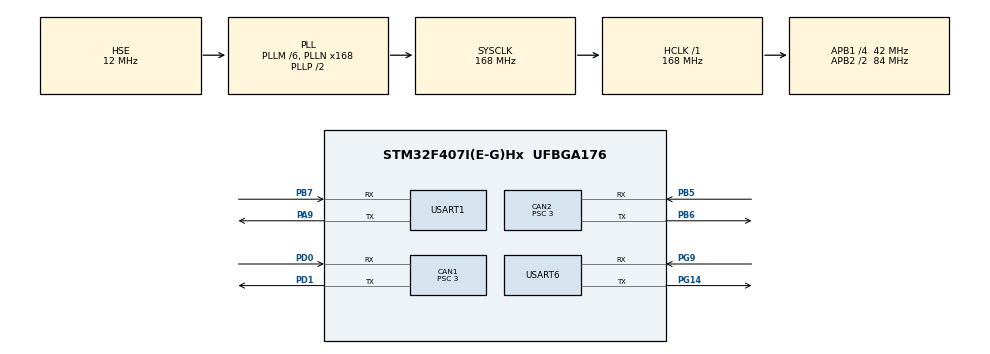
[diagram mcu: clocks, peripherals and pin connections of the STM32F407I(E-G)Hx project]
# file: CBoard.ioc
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CAN1.BS1=CAN_BS1_10TQ
CAN1.BS2=CAN_BS2_3TQ
CAN1.CalculateBaudRate=1000000
CAN1.CalculateTimeBit=1000
CAN1.CalculateTimeQuantum=71.42857142857143
CAN1.AutoBusOff=ENABLE
CAN1.AutoRetransmission=ENABLE
CAN1.Prescaler=3
CAN2.BS1=CAN_BS1_10TQ
CAN2.BS2=CAN_BS2_3TQ
CAN2.CalculateBaudRate=1000000
CAN2.CalculateTimeBit=1000
CAN2.CalculateTimeQuantum=71.42857142857143
CAN2.AutoBusOff=ENABLE
CAN2.AutoRetransmission=ENABLE
CAN2.Prescaler=3
Mcu.Family=STM32F4
Mcu.Name=STM32F407I(E-G)Hx
Mcu.Package=UFBGA176
NVIC.CAN1_RX0_IRQn=true\:0\:0\:false\:false\:true\:true\:true\:true
NVIC.CAN1_TX_IRQn=true\:0\:0\:false\:false\:true\:true\:true\:true
NVIC.CAN2_TX_IRQn=true\:0\:0\:false\:false\:true\:true\:true\:true
NVIC.CAN2_RX0_IRQn=true\:0\:0\:false\:false\:true\:true\:true\:true
NVIC.PriorityGroup=NVIC_PRIORITYGROUP_4
NVIC.TIM1_UP_TIM10_IRQn=true\:1\:0\:false\:false\:true\:true\:true\:true
NVIC.USART1_IRQn=true\:2\:0\:false\:false\:true\:true\:true\:true
NVIC.USART6_IRQn=true\:2\:0\:false\:false\:true\:true\:true\:true
PA13.Mode=Serial_Wire
PA13.Signal=SYS_JTMS-SWDIO
PA14.Mode=Serial_Wire
PA14.Signal=SYS_JTCK-SWCLK
PA9.Mode=Asynchronous
PA9.GPIO_PuPd=GPIO_PULLUP
PA9.Signal=USART1_TX
PB5.Mode=CAN_Activate
PB5.GPIO_PuPd=GPIO_PULLUP
PB5.Signal=CAN2_RX
PB6.Mode=CAN_Activate
PB6.GPIO_PuPd=GPIO_PULLUP
PB6.Signal=CAN2_TX
PB7.Mode=Asynchronous
PB7.GPIO_PuPd=GPIO_PULLUP
PB7.Signal=USART1_RX
PD0.Mode=CAN_Activate
PD0.GPIO_PuPd=GPIO_PULLUP
PD0.Signal=CAN1_RX
PD1.Mode=CAN_Activate
PD1.GPIO_PuPd=GPIO_PULLUP
PD1.Signal=CAN1_TX
PG14.Mode=Asynchronous
PG14.GPIO_PuPd=GPIO_PULLUP
PG14.Signal=USART6_TX
PG9.Mode=Asynchronous
PG9.GPIO_PuPd=GPIO_PULLUP
PG9.Signal=USART6_RX
PH0-OSC_IN.Mode=HSE-External-Oscillator
PH0-OSC_IN.Signal=RCC_OSC_IN
PH1-OSC_OUT.Mode=HSE-External-Oscillator
PH1-OSC_OUT.Signal=RCC_OSC_OUT
ProjectManager.HeapSize=0x200
ProjectManager.StackSize=0x400
ProjectManager.TargetToolchain=MDK-ARM V5.32
RCC.48MHZClocksFreq_Value=84000000
RCC.AHBFreq_Value=168000000
RCC.APB1CLKDivider=RCC_HCLK_DIV4
RCC.APB1Freq_Value=42000000
RCC.APB1TimFreq_Value=84000000
RCC.APB2CLKDivider=RCC_HCLK_DIV2
RCC.APB2Freq_Value=84000000
RCC.APB2TimFreq_Value=168000000
RCC.CortexFreq_Value=168000000
RCC.HCLKFreq_Value=168000000
RCC.HSE_VALUE=12000000
RCC.HSI_VALUE=16000000
RCC.LSE_VALUE=32768
RCC.PLLM=6
RCC.PLLN=168
RCC.PLLSourceVirtual=RCC_PLLSOURCE_HSE
RCC.SYSCLKFreq_VALUE=168000000
RCC.SYSCLKSource=RCC_SYSCLKSOURCE_PLLCLK
RCC.VCOOutputFreq_Value=336000000
USART1.VirtualMode=VM_ASYNC
TIM1.Period=999
TIM1.Prescaler=167
USART6.VirtualMode=VM_ASYNC
VP_TIM1_VS_ClockSourceINT.Mode=Internal
board=custom

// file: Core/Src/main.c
/* USER CODE BEGIN Header */
/**
  ******************************************************************************
  * @file           : main.c
  * @brief          : Main program body
  ******************************************************************************
  * @attention
  *
  * Copyright (c) 2026 STMicroelectronics.
  * All rights reserved.
  *
  * This software is licensed under terms that can be found in the LICENSE file
  * in the root directory of this software component.
  * If no LICENSE file comes with this software, it is provided AS-IS.
  *
  ******************************************************************************
  */
/* USER CODE END Header */
#include "main.h"

/* USER CODE BEGIN Includes */
#include "app_config.h"
#include "motor.h"
#include "control.h"
#include "vofa.h"

/* USER CODE END Includes */

CAN_HandleTypeDef hcan1;
CAN_HandleTypeDef hcan2;

TIM_HandleTypeDef htim1;

UART_HandleTypeDef huart1;
UART_HandleTypeDef huart6;

/* USER CODE BEGIN PV */
static uint32_t last_telemetry_ms;

/* USER CODE END PV */

void SystemClock_Config(void);
static void MX_GPIO_Init(void);
static void MX_CAN1_Init(void);
static void MX_CAN2_Init(void);
static void MX_TIM1_Init(void);
static void MX_USART1_UART_Init(void);
static void MX_USART6_UART_Init(void);

int main(void)
{

  /* MCU Configuration--------------------------------------------------------*/

  /* Reset of all peripherals, Initializes the Flash interface and the Systick. */
  HAL_Init();

  /* Configure the system clock */
  SystemClock_Config();

  /* Initialize all configured peripherals */
  MX_GPIO_Init();
  MX_CAN1_Init();
  MX_CAN2_Init();
  MX_TIM1_Init();
  MX_USART1_UART_Init();
  MX_USART6_UART_Init();
  /* USER CODE BEGIN 2 */
  Motor_CAN_Init();
  Control_Init();
  Vofa_Init();
  if (HAL_TIM_Base_Start_IT(&htim1) != HAL_OK)
  {
    Error_Handler();
  }

  /* USER CODE END 2 */

  /* Infinite loop */
  while (1)
  {

    /* USER CODE BEGIN 3 */
    uint32_t now_ms = HAL_GetTick();
    Control_Status_t status;
    Vofa_ProcessCommands();
    if ((uint32_t)(now_ms - last_telemetry_ms) >= APP_TELEMETRY_PERIOD_MS)
    {
      last_telemetry_ms = now_ms;
      Control_GetStatus(&status);
      Vofa_SendTelemetry(&status);
    }
  }
  /* USER CODE END 3 */
}

void SystemClock_Config(void)
{
  RCC_OscInitTypeDef RCC_OscInitStruct = {0};
  RCC_ClkInitTypeDef RCC_ClkInitStruct = {0};

  /** Configure the main internal regulator output voltage
  */
  __HAL_RCC_PWR_CLK_ENABLE();
  __HAL_PWR_VOLTAGESCALING_CONFIG(PWR_REGULATOR_VOLTAGE_SCALE1);

  /** Initializes the RCC Oscillators according to the specified parameters
  * in the RCC_OscInitTypeDef structure.
  */
  RCC_OscInitStruct.OscillatorType = RCC_OSCILLATORTYPE_HSE;
  RCC_OscInitStruct.HSEState = RCC_HSE_ON;
  RCC_OscInitStruct.PLL.PLLState = RCC_PLL_ON;
  RCC_OscInitStruct.PLL.PLLSource = RCC_PLLSOURCE_HSE;
  RCC_OscInitStruct.PLL.PLLM = 6;
  RCC_OscInitStruct.PLL.PLLN = 168;
  RCC_OscInitStruct.PLL.PLLP = RCC_PLLP_DIV2;
  RCC_OscInitStruct.PLL.PLLQ = 4;
  if (HAL_RCC_OscConfig(&RCC_OscInitStruct) != HAL_OK)
  {
    Error_Handler();
  }

  /** Initializes the CPU, AHB and APB buses clocks
  */
  RCC_ClkInitStruct.ClockType = RCC_CLOCKTYPE_HCLK|RCC_CLOCKTYPE_SYSCLK
                              |RCC_CLOCKTYPE_PCLK1|RCC_CLOCKTYPE_PCLK2;
  RCC_ClkInitStruct.SYSCLKSource = RCC_SYSCLKSOURCE_PLLCLK;
  RCC_ClkInitStruct.AHBCLKDivider = RCC_SYSCLK_DIV1;
  RCC_ClkInitStruct.APB1CLKDivider = RCC_HCLK_DIV4;
  RCC_ClkInitStruct.APB2CLKDivider = RCC_HCLK_DIV2;

  if (HAL_RCC_ClockConfig(&RCC_ClkInitStruct, FLASH_LATENCY_5) != HAL_OK)
  {
    Error_Handler();
  }
}

static void MX_CAN1_Init(void)
{

  hcan1.Instance = CAN1;
  hcan1.Init.Prescaler = 3;
  hcan1.Init.Mode = CAN_MODE_NORMAL;
  hcan1.Init.SyncJumpWidth = CAN_SJW_1TQ;
  hcan1.Init.TimeSeg1 = CAN_BS1_10TQ;
  hcan1.Init.TimeSeg2 = CAN_BS2_3TQ;
  hcan1.Init.TimeTriggeredMode = DISABLE;
  hcan1.Init.AutoBusOff = ENABLE;
  hcan1.Init.AutoWakeUp = DISABLE;
  hcan1.Init.AutoRetransmission = ENABLE;
  hcan1.Init.ReceiveFifoLocked = DISABLE;
  hcan1.Init.TransmitFifoPriority = DISABLE;
  if (HAL_CAN_Init(&hcan1) != HAL_OK)
  {
    Error_Handler();
  }

}

static void MX_CAN2_Init(void)
{

  hcan2.Instance = CAN2;
  hcan2.Init.Prescaler = 3;
  hcan2.Init.Mode = CAN_MODE_NORMAL;
  hcan2.Init.SyncJumpWidth = CAN_SJW_1TQ;
  hcan2.Init.TimeSeg1 = CAN_BS1_10TQ;
  hcan2.Init.TimeSeg2 = CAN_BS2_3TQ;
  hcan2.Init.TimeTriggeredMode = DISABLE;
  hcan2.Init.AutoBusOff = ENABLE;
  hcan2.Init.AutoWakeUp = DISABLE;
  hcan2.Init.AutoRetransmission = ENABLE;
  hcan2.Init.ReceiveFifoLocked = DISABLE;
  hcan2.Init.TransmitFifoPriority = DISABLE;
  if (HAL_CAN_Init(&hcan2) != HAL_OK)
  {
    Error_Handler();
  }

}

static void MX_TIM1_Init(void)
{

  TIM_ClockConfigTypeDef sClockSourceConfig = {0};
  TIM_MasterConfigTypeDef sMasterConfig = {0};

  htim1.Instance = TIM1;
  /* TIM1 clock 168 MHz: 168 MHz / 168 / 1000 = 1 kHz. */
  htim1.Init.Prescaler = 167;
  htim1.Init.CounterMode = TIM_COUNTERMODE_UP;
  htim1.Init.Period = 999;
  htim1.Init.ClockDivision = TIM_CLOCKDIVISION_DIV1;
  htim1.Init.RepetitionCounter = 0;
  htim1.Init.AutoReloadPreload = TIM_AUTORELOAD_PRELOAD_DISABLE;
  if (HAL_TIM_Base_Init(&htim1) != HAL_OK)
  {
    Error_Handler();
  }
  sClockSourceConfig.ClockSource = TIM_CLOCKSOURCE_INTERNAL;
  if (HAL_TIM_ConfigClockSource(&htim1, &sClockSourceConfig) != HAL_OK)
  {
    Error_Handler();
  }
  sMasterConfig.MasterOutputTrigger = TIM_TRGO_RESET;
  sMasterConfig.MasterSlaveMode = TIM_MASTERSLAVEMODE_DISABLE;
  if (HAL_TIMEx_MasterConfigSynchronization(&htim1, &sMasterConfig) != HAL_OK)
  {
    Error_Handler();
  }

}

static void MX_USART1_UART_Init(void)
{

  huart1.Instance = USART1;
  huart1.Init.BaudRate = 115200;
  huart1.Init.WordLength = UART_WORDLENGTH_8B;
  huart1.Init.StopBits = UART_STOPBITS_1;
  huart1.Init.Parity = UART_PARITY_NONE;
  huart1.Init.Mode = UART_MODE_TX_RX;
  huart1.Init.HwFlowCtl = UART_HWCONTROL_NONE;
  huart1.Init.OverSampling = UART_OVERSAMPLING_16;
  if (HAL_UART_Init(&huart1) != HAL_OK)
  {
    Error_Handler();
  }

}

static void MX_USART6_UART_Init(void)
{

  huart6.Instance = USART6;
  huart6.Init.BaudRate = 115200;
  huart6.Init.WordLength = UART_WORDLENGTH_8B;
  huart6.Init.StopBits = UART_STOPBITS_1;
  huart6.Init.Parity = UART_PARITY_NONE;
  huart6.Init.Mode = UART_MODE_TX_RX;
  huart6.Init.HwFlowCtl = UART_HWCONTROL_NONE;
  huart6.Init.OverSampling = UART_OVERSAMPLING_16;
  if (HAL_UART_Init(&huart6) != HAL_OK)
  {
    Error_Handler();
  }

}

static void MX_GPIO_Init(void)
{

  /* GPIO Ports Clock Enable */
  __HAL_RCC_GPIOB_CLK_ENABLE();
  __HAL_RCC_GPIOG_CLK_ENABLE();
  __HAL_RCC_GPIOA_CLK_ENABLE();
  __HAL_RCC_GPIOD_CLK_ENABLE();
  __HAL_RCC_GPIOH_CLK_ENABLE();

}

/* USER CODE BEGIN 4 */
void HAL_CAN_RxFifo0MsgPendingCallback(CAN_HandleTypeDef *hcan)
{
  Motor_CAN_RxCallback(hcan);
}

void HAL_TIM_PeriodElapsedCallback(TIM_HandleTypeDef *htim)
{
  if (htim->Instance == TIM1)
  {
    Control_Update1ms();
  }
}

void HAL_UART_RxCpltCallback(UART_HandleTypeDef *huart)
{
  Vofa_RxCompleteCallback(huart);
}

void HAL_UART_ErrorCallback(UART_HandleTypeDef *huart)
{
  Vofa_ErrorCallback(huart);
}

/* USER CODE END 4 */

void Error_Handler(void)
{
  __disable_irq();
  while (1)
  {
  }
}
